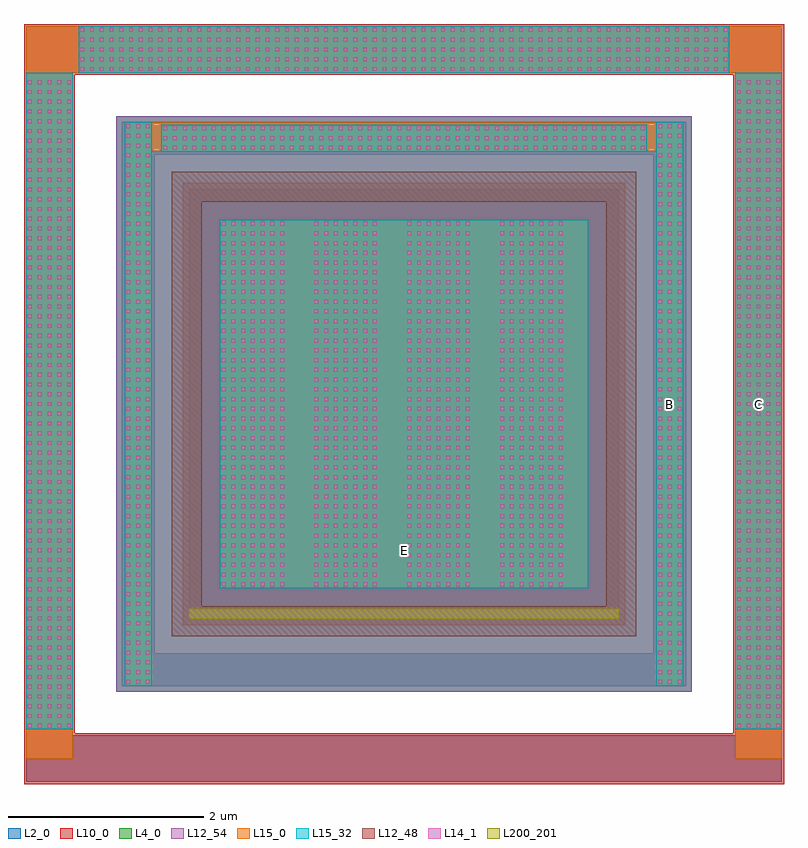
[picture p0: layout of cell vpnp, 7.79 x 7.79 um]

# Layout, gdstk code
import gdstk
lib = gdstk.Library(unit=1e-6, precision=1e-09)
def R(c, l, rs):  # rectangles x0, y0, x1, y1
    for r in rs: c.add(gdstk.rectangle(r[:2], r[2:], *l))
def A(c, l, x, y, w, h, nx, ny, dx, dy):  # array of equal rectangles
    R(c, l, [(x+i*dx, y+j*dy, x+i*dx+w, y+j*dy+h) for i in range(nx) for j in range(ny)])
L2_0 = (2, 0)
L4_0 = (4, 0)
L10_0 = (10, 0)
L12_48 = (12, 48)
L12_54 = (12, 54)
L14_1 = (14, 1)
L15_0 = (15, 0)
L15_32 = (15, 32)
L200_201 = (200, 201)

vpnp = lib.new_cell('vpnp')
R(vpnp, L2_0, [(-10.379,-2.409,-2.627,-1.929), (-10.379,-1.929,-9.899,4.863), (-3.107,-1.929,-2.627,4.863), (-9.399,-1.429,-3.607,-1.089), (-9.399,-1.089,-9.059,4.023), (-3.947,-1.089,-3.607,4.023), (-8.703,-0.733,-4.303,3.667), (-9.399,4.023,-3.607,4.363), (-10.379,4.863,-2.627,5.343)])
R(vpnp, L4_0, [(-9.455,-1.485,-3.551,4.419)])
R(vpnp, L10_0, [(-10.4,-2.43,-2.606,-1.908), (-10.4,-1.908,-9.878,4.842), (-3.128,-1.908,-2.606,4.842), (-8.773,-0.803,-4.233,3.737), (-10.4,4.842,-2.606,5.364)])
R(vpnp, L12_48, [(-8.884,-0.914,-4.122,-0.608), (-8.884,-0.608,-8.578,3.542), (-4.428,-0.608,-4.122,3.542), (-8.884,3.542,-4.122,3.848)])
R(vpnp, L12_54, [(-9.455,-1.485,-3.551,4.419)])
A(vpnp, L14_1, -10.359, -1.853, 0.04, 0.04, 5, 67, 0.1, 0.1)
A(vpnp, L14_1, -3.087, -1.853, 0.04, 0.04, 5, 67, 0.1, 0.1)
A(vpnp, L14_1, -9.349, -1.403, 0.04, 0.04, 3, 58, 0.1, 0.1)
A(vpnp, L14_1, -3.897, -1.403, 0.04, 0.04, 3, 58, 0.1, 0.1)
A(vpnp, L14_1, -8.373, -0.403, 0.04, 0.04, 7, 38, 0.1, 0.1)
A(vpnp, L14_1, -7.421, -0.403, 0.04, 0.04, 7, 38, 0.1, 0.1)
A(vpnp, L14_1, -6.469, -0.403, 0.04, 0.04, 7, 38, 0.1, 0.1)
A(vpnp, L14_1, -5.517, -0.403, 0.04, 0.04, 7, 38, 0.1, 0.1)
A(vpnp, L14_1, -8.973, 4.073, 0.04, 0.04, 50, 3, 0.1, 0.1)
A(vpnp, L14_1, -9.823, 4.883, 0.04, 0.04, 67, 5, 0.1, 0.1)
R(vpnp, L15_0, [(-10.377,-2.169,-9.901,5.341), (-3.105,-2.169,-2.629,5.341), (-9.367,-1.421,-9.091,4.355), (-3.915,-1.421,-3.639,4.355), (-8.391,-0.421,-4.615,3.355), (-9.091,4.055,-3.915,4.355), (-9.901,4.865,-3.105,5.341)])
R(vpnp, L15_32, [(-10.377,-1.871,-9.901,4.865), (-3.105,-1.871,-2.629,4.865), (-9.367,-1.421,-9.091,4.355), (-3.915,-1.421,-3.639,4.355), (-8.391,-0.421,-4.615,3.355), (-8.991,4.055,-4.015,4.331), (-9.841,4.865,-3.165,5.341)])
R(vpnp, L200_201, [(-8.703,-0.733,-4.303,-0.633)])
vpnp.add(gdstk.Label('E', (-6.503,-0.033), layer=15, texttype=20))
vpnp.add(gdstk.Label('B', (-3.777,1.467), layer=15, texttype=20))
vpnp.add(gdstk.Label('C', (-2.867,1.467), layer=15, texttype=20))

lib.write_gds('vpnp.gds')
